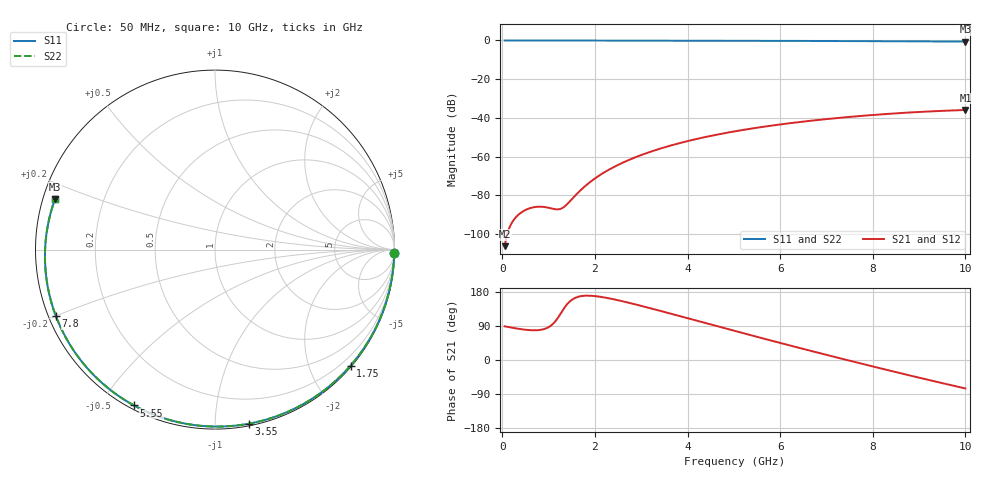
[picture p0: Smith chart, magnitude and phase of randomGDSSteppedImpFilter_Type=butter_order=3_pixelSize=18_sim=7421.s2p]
! freq	dB(S11)	phase(S11)	dB(S12)	phase(S12)
!  dB(S21)	phase(S21)	dB(S22)	phase(S22)
!S-par simulation data
#  GHz  S  DB  R 50
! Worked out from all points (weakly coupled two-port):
!   200 points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, 50 MHz to 10 GHz, reference 50 ohm
!   highest |S21| = -35.94 dB at 10 GHz (marker M1); lowest = -106.3 dB at 50 MHz (marker M2)
!   lowest |S11| = -0.6 dB at 10 GHz (marker M3), VSWR 29.61, Z = 1.73 + j7.72 ohm
!   |S11| at or under -10 dB: nowhere
!   |S22| runs from -0.6 to 0.0 dB; largest |S21 - S12| = 0
!   S11 on the Smith chart (normalised r, x): 50 MHz: open; 1.75 GHz: 0.02, -2.71; 3.55 GHz: 0.01, -1.21; 5.55 GHz: 0.01, -0.61; 7.8 GHz: 0.02, -0.20; 10 GHz: 0.03, +0.15
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0.05  -0.00 -1.1  -106.33 88.8  -106.33 88.8  -0.00 -1.1
0.45  -0.02 -10.6  -88.28 80.6  -88.28 80.6  -0.02 -10.6
0.8  -0.02 -18.8  -85.92 79.1  -85.92 79.1  -0.02 -18.8
1.55  -0.05 -36.0  -80.82 162.5  -80.82 162.5  -0.05 -36.0
1.6  -0.05 -37.2  -79.56 165.3  -79.56 165.3  -0.05 -37.2
1.75  -0.05 -40.6  -76.10 169.3  -76.10 169.3  -0.05 -40.6
2.05  -0.06 -47.2  -70.50 167.9  -70.50 167.9  -0.06 -47.2
2.25  -0.07 -51.7  -67.50 164.0  -67.50 164.0  -0.07 -51.6
2.45  -0.07 -56.0  -64.92 159.0  -64.92 159.0  -0.07 -56.0
2.9  -0.08 -65.6  -60.14 145.9  -60.14 145.9  -0.08 -65.6
3.4  -0.10 -76.0  -55.98 130.1  -55.98 130.1  -0.10 -76.0
3.55  -0.10 -79.1  -54.91 125.2  -54.91 125.2  -0.10 -79.1
4.3  -0.13 -94.0  -50.36 100.5  -50.36 100.5  -0.13 -94.0
5.05  -0.16 -108.3  -46.85 75.8  -46.85 75.8  -0.16 -108.3
5.55  -0.19 -117.5  -44.93 59.5  -44.93 59.5  -0.19 -117.5
6.15  -0.22 -128.3  -42.95 40.2  -42.95 40.2  -0.22 -128.3
6.7  -0.26 -138.1  -41.40 22.9  -41.40 22.9  -0.26 -138.1
7.25  -0.30 -147.8  -40.06 5.8  -40.06 5.8  -0.30 -147.8
7.8  -0.35 -157.4  -38.90 -11.0  -38.90 -11.0  -0.35 -157.4
8.35  -0.40 -167.2  -37.92 -27.5  -37.92 -27.5  -0.40 -167.1
9.2  -0.49 177.5  -36.72 -52.5  -36.72 -52.5  -0.49 177.5
10  -0.59 162.4  -35.94 -75.1  -35.94 -75.1  -0.59 162.4
